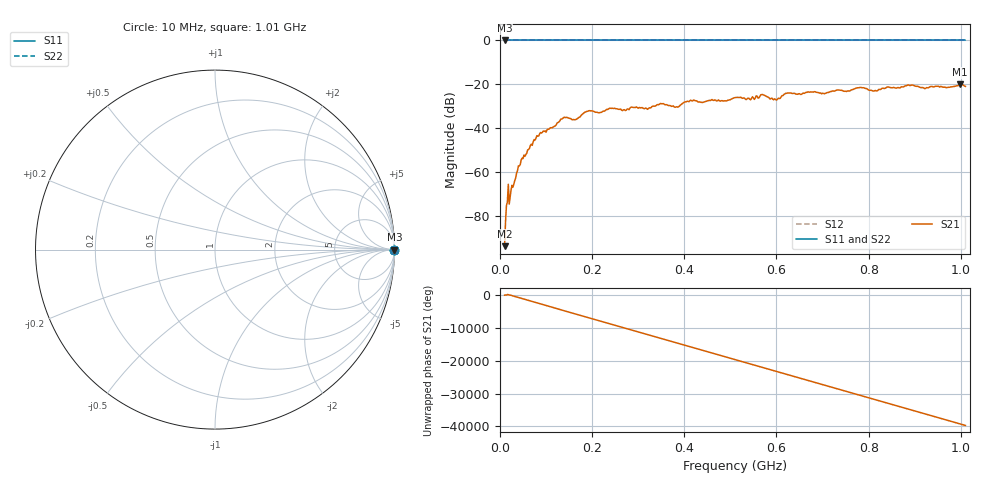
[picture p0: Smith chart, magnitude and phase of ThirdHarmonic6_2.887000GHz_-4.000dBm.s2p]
! 8/17/2025 7:56:09 AM
! C:\ANRITSUVNA\TEMP\TEMP.S2P
! CHANNEL.1
! TR.MEASUREMENT
! RAW.DATA
! RF.CORRECTION.OFF
! AVERAGING.OFF
! IF.BANDWIDTH: 5KHZ
! SWEEPTYPE:  FREQ.SWEEP(Linear)
! Reference Plane Port Info
! PORT:  PORT1  PORT2
! DISTANCE:  0  m  0  m
! TIME:  0  s  0  s
! PHASE.OFFSET:  0  deg.  0  deg.
! LOSS:  0  dB  0  dB
! REF.LOSS:  0  dB  0  dB
! REF.FREQ:  0  Hz  0  Hz
! Power Info
! POWER:  -20  dBm  -20  dBm
! EFF.POWER:  -20  dBm  -20  dBm
! SOURCE.ATTEN:  0  dB  0  dB
! TEST.ATTEN:  0  dB  0  dB
# GHZ S RI R 50.0
! FREQ.GHZ  S11RE  S11IM  S21RE  S21IM  S12RE  S12IM  S22RE  S22IM
!; PortSelection: Port_12
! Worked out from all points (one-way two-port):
!   501 points, 10 MHz to 1.01 GHz, reference 50 ohm
!   highest |S21| = -20.02 dB at 998 MHz (marker M1); lowest = -93.7 dB at 10 MHz (marker M2)
!   lowest |S11| = 0.0 dB at 10 MHz (marker M3)
!   |S11| at or under -10 dB: nowhere
!   |S22| runs from 0.0 to 0.0 dB; largest |S21 - S12| = 1.1
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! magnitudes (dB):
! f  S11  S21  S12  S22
! 10 MHz  0.0  -93.7  0.0  0.0
! 22 MHz  0.0  -71.3  0.0  0.0
! 24 MHz  0.0  -68.1  0.0  0.0
! 44 MHz  0.0  -56.5  0.0  0.0
! 76 MHz  0.0  -45.3  0.0  0.0
! 136 MHz  0.0  -35.5  0.0  0.0
! 162 MHz  0.0  -36.1  0.0  0.0
! 178 MHz  0.0  -33.7  0.0  0.0
! 192 MHz  0.0  -32.1  0.0  0.0
! 318 MHz  0.0  -31.0  0.0  0.0
! 344 MHz  0.0  -29.3  0.0  0.0
! 384 MHz  0.0  -30.2  0.0  0.0
! 416 MHz  0.0  -27.5  0.0  0.0
! 510 MHz  0.0  -26.0  0.0  0.0
! 570 MHz  0.0  -24.6  0.0  0.0
! 598 MHz  0.0  -26.9  0.0  0.0
! 624 MHz  0.0  -23.9  0.0  0.0
! 678 MHz  0.0  -23.4  0.0  0.0
! 814 MHz  0.0  -22.8  0.0  0.0
! 844 MHz  0.0  -21.3  0.0  0.0
! 998 MHz  0.0  -20.0  0.0  0.0
! 1.01 GHz  0.0  -20.9  0.0  0.0
